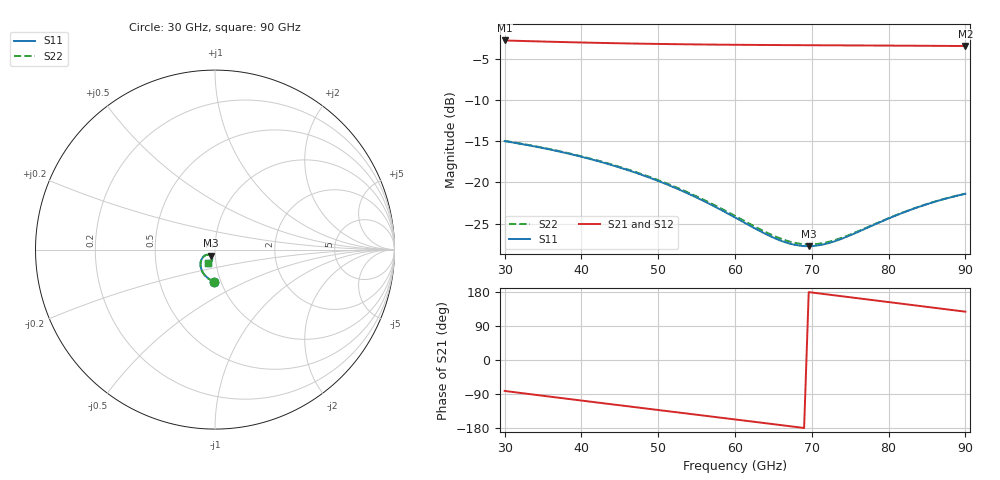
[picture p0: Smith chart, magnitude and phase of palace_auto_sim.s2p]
#  GHZ S DB R 50
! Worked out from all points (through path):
!   101 points, 30 GHz to 90 GHz, reference 50 ohm
!   highest |S21| = -2.77 dB at 30 GHz (marker M1); lowest = -3.4 dB at 90 GHz (marker M2)
!   group delay of S21, straight-line fit = 6.96 ps
!   lowest |S11| = -27.7 dB at 69.6 GHz (marker M3), VSWR 1.09, Z = 47.5 - j3.16 ohm
!   |S11| at or under -10 dB: start of sweep to end of sweep
!   |S22| runs from -27.5 to -15.0 dB; largest |S21 - S12| = 1.2e-12
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30  -15.00 -91.7  -2.77 -81.6  -2.77 -81.6  -14.96 -91.7
32.4  -15.37 -98.5  -2.83 -87.8  -2.83 -87.8  -15.33 -98.5
34.8  -15.80 -105.1  -2.89 -93.9  -2.89 -93.9  -15.75 -105.1
37.2  -16.27 -111.5  -2.95 -99.9  -2.95 -99.9  -16.22 -111.4
40.2  -16.94 -119.1  -3.02 -107.5  -3.02 -107.5  -16.88 -119.0
45  -18.20 -130.3  -3.11 -119.5  -3.11 -119.5  -18.12 -130.2
47.4  -18.94 -135.3  -3.15 -125.5  -3.15 -125.5  -18.85 -135.2
50.4  -19.97 -140.9  -3.19 -133.0  -3.19 -133.0  -19.87 -140.8
55.2  -21.93 -147.5  -3.25 -144.9  -3.25 -144.9  -21.79 -147.4
57.6  -23.05 -149.2  -3.27 -150.9  -3.27 -150.9  -22.89 -149.1
60  -24.26 -149.3  -3.29 -156.9  -3.29 -156.9  -24.07 -149.3
63.6  -26.08 -145.2  -3.32 -165.8  -3.32 -165.8  -25.85 -145.5
66  -27.09 -139.1  -3.33 -171.9  -3.33 -171.9  -26.84 -139.7
67.8  -27.58 -132.9  -3.34 -176.4  -3.34 -176.4  -27.34 -133.8
69.6  -27.74 -126.0  -3.35 179.1  -3.35 179.1  -27.53 -127.1
70.2  -27.71 -123.7  -3.35 177.6  -3.35 177.6  -27.51 -124.9
72  -27.42 -117.3  -3.36 173.1  -3.36 173.1  -27.26 -118.6
73.8  -26.88 -112.2  -3.36 168.5  -3.36 168.5  -26.76 -113.5
76.8  -25.69 -107.0  -3.38 160.9  -3.38 160.9  -25.62 -108.2
80.4  -24.23 -105.6  -3.39 151.8  -3.39 151.8  -24.19 -106.6
85.2  -22.58 -108.8  -3.42 139.7  -3.42 139.7  -22.56 -109.5
90  -21.38 -115.1  -3.44 127.5  -3.44 127.5  -21.37 -115.6
